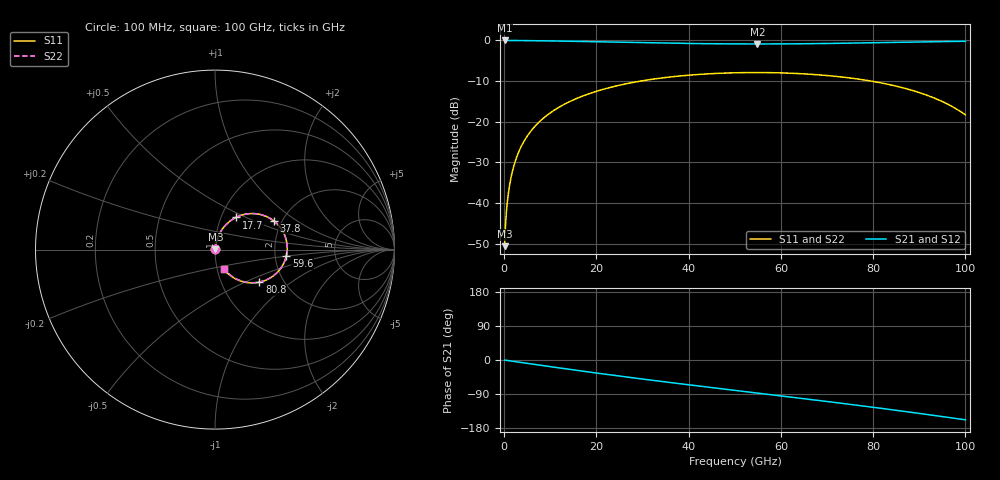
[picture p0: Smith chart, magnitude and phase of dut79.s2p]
! Touchstone file exported from HFSS 2026.1.0
!  File:  C:/ffzhzh/LocalFiles/Ansys_Project_Files/temp_train_RDL_79_1783498776_31944.aedt
!  Generated:  04:20:44 PM Jul  8, 2026
!  Design:  RDL
!  Project:  temp_train_RDL_79_1783498776_31944
! Variables:
!  h_bsmrdl = 2um
!  h_ox = 20um
!  h_rdl = 5um
!  h_sub = 80um
!  h_tmrdl = 3.04um
!  h_tsv = 80um
!  h_via = 3um
!  l_bsmrdl = 300um
!  l_sub = 930.16um
!  l_tmrdl = 530.16um
!  m_sub = 200um
!  pitch = 45.57um
!  r_tsv = 6um
!  s_tmrdl = 10um
!  w_bsmrdl = 18um
!  w_sub = 500um
!  w_tmrdl = 28.49um
!  x_tsv_center1 = 544.405um
!  x_tsv_center2 = 862.405um
!  x_tsv_center3 = 1421.055um
!  x_tsv_center4 = 1739.055um
!  x_tsv_center5 = 2297.705um
!  x_tsv_center6 = 2615.705um
# GHz S MA R 50.000000
! Terminal data exported
! Port[1] = TM_RDL1_1_T1
! Port[2] = TM_RDL1_1_T2
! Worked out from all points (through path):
!   1000 points, 100 MHz to 100 GHz, reference 50 ohm
!   highest |S21| = -0.02 dB at 100 MHz (marker M1); lowest = -0.9 dB at 54.9 GHz (marker M2)
!   group delay of S21, straight-line fit = 4.26 ps
!   lowest |S11| = -50.6 dB at 100 MHz (marker M3), VSWR 1.01, Z = 50.2 + j0.163 ohm
!   |S11| at or under -10 dB: start of sweep to 29.61 GHz; 79.52 GHz to end of sweep
!   |S22| runs from -50.6 to -7.9 dB; largest |S21 - S12| = 1.7e-14
!   S11 on the Smith chart (normalised r, x): 100 MHz: 1.00, +0.00; 17.7 GHz: 1.17, +0.44; 37.8 GHz: 1.81, +0.67; 59.6 GHz: 2.31, -0.19; 80.8 GHz: 1.51, -0.61; 100 GHz: 1.08, -0.24
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0.1  0.002957 33.4  0.9975 -0.2  0.9975 -0.2  0.002957 33.4
! Gamma 0 0 0 0
! Port Impedance 50 0 50 0
0.9  0.01295 73.2  0.9965 -1.6  0.9965 -1.6  0.01295 73.2
1.2  0.01682 75.9  0.9964 -2.2  0.9964 -2.2  0.01682 75.9
1.6  0.02205 77.7  0.9962 -2.9  0.9962 -2.9  0.02205 77.7
2.7  0.03654 79.0  0.9954 -4.8  0.9954 -4.8  0.03654 79.0
4.2  0.05619 78.0  0.994 -7.5  0.994 -7.5  0.05619 78.0
6.3  0.08313 75.2  0.9912 -11.2  0.9912 -11.2  0.08313 75.2
9.1  0.1178 70.8  0.9865 -16.0  0.9865 -16.0  0.1178 70.8
12.6  0.1588 65.1  0.9793 -22.0  0.9793 -22.0  0.1588 65.1
16.8  0.2045 58.4  0.9696 -29.1  0.9696 -29.1  0.2045 58.4
17.7  0.2137 57.0  0.9675 -30.5  0.9675 -30.5  0.2137 57.0
24.8  0.2794 45.8  0.9495 -42.1  0.9495 -42.1  0.2794 45.8
33.4  0.3406 32.8  0.9288 -55.5  0.9288 -55.5  0.3406 32.8
37.8  0.3638 26.3  0.9198 -62.2  0.9198 -62.2  0.3638 26.3
50.1  0.3997 8.5  0.9046 -80.3  0.9046 -80.3  0.3997 8.5
54.9  0.4025 1.7  0.9032 -87.2  0.9032 -87.2  0.4025 1.7
59.6  0.3991 -5.0  0.9045 -94.1  0.9045 -94.1  0.3991 -5.0
66.7  0.3824 -15.2  0.911 -104.5  0.911 -104.5  0.3824 -15.2
80.8  0.307 -36.2  0.9369 -126.0  0.9369 -126.0  0.307 -36.0
83.4  0.287 -40.2  0.9427 -130.2  0.9427 -130.2  0.287 -39.9
92.7  0.2012 -54.6  0.9626 -145.4  0.9626 -145.4  0.2013 -54.0
100  0.1214 -65.6  0.9738 -157.8  0.9738 -157.8  0.1216 -64.2
